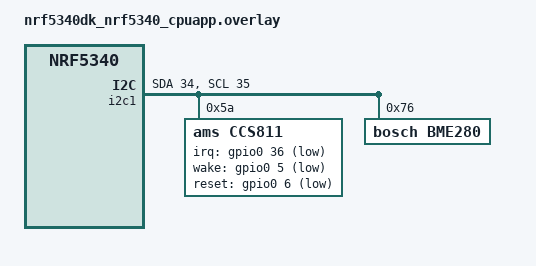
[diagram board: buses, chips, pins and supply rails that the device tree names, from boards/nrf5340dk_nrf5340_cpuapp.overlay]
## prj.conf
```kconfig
CONFIG_HEAP_MEM_POOL_SIZE=16384
CONFIG_MAIN_STACK_SIZE=4096

CONFIG_NEWLIB_LIBC=y

CONFIG_LOG=y

CONFIG_BT=y
CONFIG_BT_DEBUG_LOG=y
CONFIG_BT_DEVICE_NAME="IAQ"

CONFIG_SENSOR=y

CONFIG_BME280=y
CONFIG_CCS811=y


CONFIG_DISPLAY=y
CONFIG_DISPLAY_LOG_LEVEL_ERR=y

CONFIG_LVGL=y
CONFIG_LVGL_USE_THEME_MATERIAL=y
CONFIG_LVGL_USE_LABEL=y
CONFIG_LVGL_USE_LINEMETER=y
CONFIG_LVGL_FONT_MONTSERRAT_14=y
CONFIG_LVGL_FONT_MONTSERRAT_16=y
CONFIG_LVGL_FONT_MONTSERRAT_18=y
CONFIG_LVGL_FONT_MONTSERRAT_22=y
```

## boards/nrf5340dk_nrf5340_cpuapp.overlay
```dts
&i2c1 {
        status = "okay";
       sda-pin = <34>; // P1.02 (34)
       scl-pin = <35>; // P1.03 (35)

	/* Sparkfun Environment Combo uses second I2C address */
        ccs811: ccs811@5b {
                compatible = "ams,ccs811";
                reg = <0x5a>;
                label = "CCS811";
                irq-gpios = <&gpio0 36 GPIO_ACTIVE_LOW>; // P1.04 (36)
                wake-gpios = <&gpio0 5 GPIO_ACTIVE_LOW>;
                reset-gpios = <&gpio0 6 GPIO_ACTIVE_LOW>;
        };

        bme280@76 {
		compatible = "bosch,bme280";
		reg = <0x76>;
		label = "BME280";
	};
};
```

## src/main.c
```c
/*
SPDX-License-Identifier: GPL-3.0-or-later

iaq-monitor-demo
Copyright (C) 2021  dxcfl

This program is free software: you can redistribute it and/or modify
it under the terms of the GNU General Public License as published by
the Free Software Foundation, either version 3 of the License, or
(at your option) any later version.

This program is distributed in the hope that it will be useful,
but WITHOUT ANY WARRANTY; without even the implied warranty of
MERCHANTABILITY or FITNESS FOR A PARTICULAR PURPOSE.  See the
GNU General Public License for more details.

You should have received a copy of the GNU General Public License
along with this program.  If not, see <http://www.gnu.org/licenses/>.
*/

#include <device.h>
#include <devicetree.h>
#include <drivers/sensor.h>
#include <drivers/sensor/ccs811.h>
#include <drivers/display.h>
#include <zephyr.h>
#include <stdio.h>
#include <string.h>
#include <lvgl.h>
#include <bluetooth/bluetooth.h>
#include <bluetooth/hci.h>

#include "gui.h"
#include "iaq.h"

#define LOG_LEVEL CONFIG_LOG_DEFAULT_LEVEL
#include <logging/log.h>
LOG_MODULE_REGISTER(app);

#define DEVICE_NAME CONFIG_BT_DEVICE_NAME
#define DEVICE_NAME_LEN (sizeof(DEVICE_NAME) - 1)

#define BME280 DT_INST(0, bosch_bme280)
#if DT_NODE_HAS_STATUS(BME280, okay)
#define BME280_LABEL DT_LABEL(BME280)
#else
#error The devicetree has no enabled nodes with compatible "bosch,bme280"
#define BME280_LABEL "<none>"
#endif

#define CCS811 DT_INST(0, ams_ccs811)
#if DT_NODE_HAS_STATUS(CCS811, okay)
#define CCS811_LABEL DT_LABEL(CCS811)
#else
#error The devicetree has no enabled nodes with compatible "ams_ccs811"
#define CCS811_LABEL "<none>"
#endif

#define CALIBRATION_TIME_SECONDS 20 // should be 20 minutes! ;)

/* Auxiliary function: Format time string.
*/
static const char *time_str(uint32_t time, bool with_millis)
{
	static char buf[16]; /* ...HH:MM:SS.MMM */
	unsigned int ms = time % MSEC_PER_SEC;
	unsigned int s;
	unsigned int min;
	unsigned int h;

	time /= MSEC_PER_SEC;
	s = time % 60U;
	time /= 60U;
	min = time % 60U;
	time /= 60U;
	h = time;
	if (with_millis)
		snprintf(buf, sizeof(buf), "%u:%02u:%02u.%03u",
				 h, min, s, ms);
	else
		snprintf(buf, sizeof(buf), "%u:%02u:%02u",
				 h, min, s);

	return buf;
}

static const char *now_str()
{
	return time_str(k_uptime_get_32(), true);
}

/* Bluetooth beacon setup ...
 * "stolen" from the Zephyr bluetooth beacon example 
 * (zephyr/samples/bluetooth/beacon/main.c).
 * Setup a non-connectable Eddystone beacon.
 * Later we will "abuse" the name data in the scan
 * resonse to transport our IAQ rating.
*/

/*
	 * Set Advertisement data. Based on the Eddystone specification:
 	 * https://github.com/google/eddystone/blob/master/protocol-specification.md
 	 * https://github.com/google/eddystone/tree/master/eddystone-url
 	*/
static const struct bt_data ad[] = {
	BT_DATA_BYTES(BT_DATA_FLAGS, BT_LE_AD_NO_BREDR),
	BT_DATA_BYTES(BT_DATA_UUID16_ALL, 0xaa, 0xfe),
	BT_DATA_BYTES(BT_DATA_SVC_DATA16,
				  0xaa, 0xfe, /* Eddystone UUID */
				  0x10,		  /* Eddystone-URL frame type */
				  0x00,		  /* Calibrated Tx power at 0m */
				  0x00,		  /* URL Scheme Prefix http://www. */
				  'e', 'x', 'a', 'm', 'p', 'l', 'e',
				  0x08) /* .org */
};

/* Set Scan Response data */
static const struct bt_data sd[] = {
	BT_DATA(BT_DATA_NAME_COMPLETE, DEVICE_NAME, DEVICE_NAME_LEN),
	BT_DATA(BT_DATA_NAME_SHORTENED, DEVICE_NAME, DEVICE_NAME_LEN),
};

static void bt_ready(int err)
{

	char addr_s[BT_ADDR_LE_STR_LEN];
	bt_addr_le_t addr = {0};
	size_t count = 1;

	if (err)
	{
		printk("\n[%s]: Bluetooth init failed (err %d)\n", now_str(), err);
		return;
	}
	printk("\n[%s]: Bluetooth initialized\n", now_str());

	/* Start advertising */
	err = bt_le_adv_start(BT_LE_ADV_NCONN_IDENTITY, ad, ARRAY_SIZE(ad),
						  sd, ARRAY_SIZE(sd));
	if (err)
	{
		printk("\n[%s]: Advertising failed to start (err %d)\n", now_str(), err);
		return;
	}

	/* For connectable advertising you would use
	 * bt_le_oob_get_local().  For non-connectable non-identity
	 * advertising an non-resolvable private address is used;
	 * there is no API to retrieve that.
	 */

	bt_id_get(&addr, &count);
	bt_addr_le_to_str(&addr, addr_s, sizeof(addr_s));

	printk("\n[%s]: Beacon started, advertising as %s\n", now_str(), addr_s);
}

/* Auxiliary function to handle timing issues when fetching a
 * sample from the CCS811 sensor: Repeat sensor_sample_fetch
 * until valid data has been received.
*/
int ccs811_sample_fetch(struct device *dev)
{
	static bool first = true;
	static bool ccs811_fw_app_v2 = false;
	int rc;

	if (first)
	{
		struct ccs811_configver_type cfgver;
		rc = ccs811_configver_fetch(dev, &cfgver);
		if (rc == 0)
		{
			printk("\n[%s]: CCS811: HW %02x; FW Boot %04x App %04x ; mode %02x\n",
				   now_str(),
				   cfgver.hw_version, cfgver.fw_boot_version,
				   cfgver.fw_app_version, cfgver.mode);
			ccs811_fw_app_v2 = (cfgver.fw_app_version >> 8) > 0x11;
		}
		first = false;
	}

	rc = sensor_sample_fetch(dev);
	while (rc != 0)
	{
		const struct ccs811_result_type *rp = ccs811_result(dev);

		if (ccs811_fw_app_v2 && !(rp->status & CCS811_STATUS_DATA_READY))
		{
			printk("\n[%s]: CCS811: Stale data!\n", now_str());
			continue;
		}

		if (rp->status & CCS811_STATUS_ERROR)
		{
			printk("\n[%s]: CCS811: ERROR: %02x\n", now_str(), rp->error);
			break;
		}

		k_sleep(K_MSEC(10));
		rc = sensor_sample_fetch(dev);
	}

	return rc;
}

/*
 * Main application logic ...
*/
void main(void)
{
	/* General setup and initialization
	*/

	/* Setup sensor: BME280
	*/
	const struct device *bme280 = device_get_binding(BME280_LABEL);
	if (bme280 == NULL)
	{
		printk("No device \"%s\" found; Initialization failed?\n",
			   BME280_LABEL);
		return;
	}
	else
	{
		printk("Found device \"%s\"\n", BME280_LABEL);
		printk("Device is %p, name is %s\n", bme280, bme280->name);
	}

	/* Setup sensor: CCS811
	*/
	const struct device *ccs811 = device_get_binding(CCS811_LABEL);
	if (ccs811 == NULL)
	{
		printk("No device \"%s\" found; Initialization failed?\n",
			   CCS811_LABEL);
		return;
	}
	else
	{
		printk("Found device \"%s\"\n", CCS811_LABEL);
		printk("Device is %p, name is %s\n", ccs811, ccs811->name);
	}

	/* Setup and start Bluetooth beacon
	*/
	int bt_err;
	printk("\n[%s]: BT: Starting beacon ...\n", now_str());
	bt_err = bt_enable(bt_ready);
	if (bt_err)
	{
		printk("\n[%s]: BT: Initiialization failed (err %d)\n", now_str(), bt_err);
	}

	/* Setup GUI
	*/
	gui_setup();

	/* Forever ...
	*/
	while (1)
	{
		int rc = -1;
		bool valid_env_data_bme280 = false;
		bool valid_env_data_ccs811 = false;
		uint32_t now = k_uptime_get_32();
		int32_t calibration_time_remaining = CALIBRATION_TIME_SECONDS * MSEC_PER_SEC - now;

		struct sensor_value temp, press, humidity, co2, tvoc;

		/* Read sensor: BME280
		*/
		rc = sensor_sample_fetch(bme280);
		if (rc == 0)
		{
			valid_env_data_bme280 = true;

			/* Get sensor values for temperature, pressure and humidity
			*/
			sensor_channel_get(bme280, SENSOR_CHAN_AMBIENT_TEMP, &temp);
			sensor_channel_get(bme280, SENSOR_CHAN_PRESS, &press);
			sensor_channel_get(bme280, SENSOR_CHAN_HUMIDITY, &humidity);

			printk("\n[%s]: BME280: temp: %d.%06d; press: %d.%06d; humidity: %d.%06d\n",
				   now_str(),
				   temp.val1, temp.val2,
				   press.val1, press.val2,
				   humidity.val1, humidity.val2);

			/* Update the appropriate GUI elements
			*/
			gui_update_sensor_value(SENSOR_CHAN_AMBIENT_TEMP, temp);
			gui_update_sensor_value(SENSOR_CHAN_PRESS, press);
			gui_update_sensor_value(SENSOR_CHAN_HUMIDITY, humidity);

			/* Accurate calculation of gas levels requires accurate environment data. 
			 * Measurements are only accurate to 0.5 Cel and 0.5 RH.
			 * The CCS811 features an ENV_DATA register, which can be 'fed' with
			 * with the actual environmental data to improve the accuracy of the
			 * provided values for gas levels.
			*/
			rc = ccs811_envdata_update(ccs811, &temp, &humidity);
			if (rc == 0)
			{
				printk("\n[%s]: CCS811: Env data updated!\n", now_str());
			}
			else
			{
				printk("\n[%s]: CCS811: Failed to update env data!\n", now_str());
			}
		}
		else
		{
			valid_env_data_bme280 = false;
			printk("\n[%s]: BME280: Failed to fetch sensor data!\n", now_str());
		}

		/* Read sensor: CCS811
		*/
		rc = ccs811_sample_fetch(ccs811);
		if (rc == 0)
		{
			valid_env_data_ccs811 = true;

			/* Get sensor values for CO2 and VOC concentration
			*/
			sensor_channel_get(ccs811, SENSOR_CHAN_CO2, &co2);
			sensor_channel_get(ccs811, SENSOR_CHAN_VOC, &tvoc);

			printk("\n[%s]: CCS811: %u ppm eCO2; %u ppb eTVOC\n",
				   now_str(),
				   co2.val1,
				   tvoc.val1);

			/* Update the appropriate GUI elements
			*/
			gui_update_sensor_value(SENSOR_CHAN_CO2, co2);
			gui_update_sensor_value(SENSOR_CHAN_VOC, tvoc);
		}
		else
		{
			valid_env_data_ccs811 = false;
			printk("\n[%s]: CCS811: Failed to fetch sensor data!\n", now_str());
		}

		/* Calculate and display the IAQI rating
		*/

		/* If calibration time elapased and valid sensor readings are available ...
		*/
		if (calibration_time_remaining <= 0 && valid_env_data_bme280 && valid_env_data_ccs811)
		{
			/* Calculate the IAQI and update the GUI's meter component with the 'relative qualitity'
			 * and the IAQI rating.
			*/
			uint8_t iaq_index = get_iaq_index(temp.val1, humidity.val1, co2.val1, tvoc.val1);
			uint16_t quality = iaq_index * 100 / get_max_iaq_index();
			printk("\n[%s]: APP: IAQ index: %d (%d %%)\n", now_str(), iaq_index, quality);
			gui_update_qmeter(quality, get_iaq_rating(iaq_index));

			/* Update the scan reponse data for the Bluetooth beacon: 'Misuse' the name data for
			*  transporting the IAQI rating.
			*/
			struct bt_data new_sd[] = {
				BT_DATA(BT_DATA_NAME_COMPLETE, get_iaq_rating(iaq_index), strlen(get_iaq_rating(iaq_index))),
				BT_DATA(BT_DATA_NAME_SHORTENED, DEVICE_NAME, DEVICE_NAME_LEN),
			};
			bt_err = bt_le_adv_update_data(ad, ARRAY_SIZE(ad),
										   new_sd, ARRAY_SIZE(new_sd));
			if (bt_err)
			{
				printk("\n[%s]: BT: Advertising update failed (err %d)\n", now_str(), bt_err);
			}
		}
		/* If we are still calibrating ...
		*/
		else if (calibration_time_remaining > 0)
		{
			printk("\n[%s]: APP: Calibration time remaining: %s\n", now_str(), time_str(calibration_time_remaining, true));
			/* Show remaining time for calibration
			*/
			gui_update_qmeter(0, time_str(calibration_time_remaining, false));
		}

		k_sleep(K_MSEC(1000));
	}
}
```

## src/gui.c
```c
/*
SPDX-License-Identifier: GPL-3.0-or-later

iaq-monitor-demo
Copyright (C) 2021  dxcfl

This program is free software: you can redistribute it and/or modify
it under the terms of the GNU General Public License as published by
the Free Software Foundation, either version 3 of the License, or
(at your option) any later version.

This program is distributed in the hope that it will be useful,
but WITHOUT ANY WARRANTY; without even the implied warranty of
MERCHANTABILITY or FITNESS FOR A PARTICULAR PURPOSE.  See the
GNU General Public License for more details.

You should have received a copy of the GNU General Public License
along with this program.  If not, see <http://www.gnu.org/licenses/>.
*/

#include <zephyr.h>
#include <device.h>
#include <drivers/display.h>
#include <drivers/sensor.h>
#include <lvgl.h>
#include <stdio.h>
#include <string.h>

#include "gui.h"

#define LOG_LEVEL CONFIG_LOG_DEFAULT_LEVEL
#include <logging/log.h>
LOG_MODULE_REGISTER(gui);

const struct device *display_dev;

/* GUI objects ... 
*/
lv_obj_t *headline;
lv_obj_t *qualitiy_meter;
lv_obj_t *qualitiy_label;
lv_obj_t *temp_label;
lv_obj_t *temp_value_label;
lv_obj_t *pressure_label;
lv_obj_t *press_value_label;
lv_obj_t *humidity_label;
lv_obj_t *humid_value_label;
lv_obj_t *co2_label;
lv_obj_t *co2_value_label;
lv_obj_t *tvoc_label;
lv_obj_t *tvoc_value_label;

/* GUI setup ... 
*/
void gui_setup(void)
{
	display_dev = device_get_binding(CONFIG_LVGL_DISPLAY_DEV_NAME);

	if (display_dev == NULL)
	{
		LOG_ERR("Display device not found!");
		return;
	}

	display_blanking_off(display_dev);

	lv_theme_t *theme = lv_theme_material_init(LV_COLOR_GREEN, LV_COLOR_WHITE, LV_THEME_MATERIAL_FLAG_DARK, &lv_font_montserrat_14, &lv_font_montserrat_16, &lv_font_montserrat_18, &lv_font_montserrat_22);
	lv_theme_set_act(theme);

	headline = lv_label_create(lv_scr_act(), NULL);
	qualitiy_meter = lv_linemeter_create(lv_scr_act(), NULL);
	qualitiy_label = lv_label_create(lv_scr_act(), NULL);
	temp_label = lv_label_create(lv_scr_act(), NULL);
	temp_value_label = lv_label_create(lv_scr_act(), NULL);
	pressure_label = lv_label_create(lv_scr_act(), NULL);
	press_value_label = lv_label_create(lv_scr_act(), NULL);
	humidity_label = lv_label_create(lv_scr_act(), NULL);
	humid_value_label = lv_label_create(lv_scr_act(), NULL);
	co2_label = lv_label_create(lv_scr_act(), NULL);
	co2_value_label = lv_label_create(lv_scr_act(), NULL);
	tvoc_label = lv_label_create(lv_scr_act(), NULL);
	tvoc_value_label = lv_label_create(lv_scr_act(), NULL);

	static lv_style_t large_style;
	lv_style_init(&large_style);
	lv_style_set_text_font(&large_style, LV_STATE_DEFAULT, lv_theme_get_font_title());

	lv_obj_add_style(headline, LV_LABEL_PART_MAIN, &large_style);
	lv_obj_set_x(headline, 115);
	lv_obj_set_y(headline, 10);
	lv_obj_set_height(headline, 20);
	lv_obj_set_width(headline, 50);
	lv_label_set_text(headline, "Air Quality");

	lv_obj_set_x(qualitiy_meter, 10);
	lv_obj_set_y(qualitiy_meter, 75);
	lv_obj_set_width(qualitiy_meter, 90);
	lv_obj_set_height(qualitiy_meter, 90);
	lv_linemeter_set_range(qualitiy_meter, 0, 100);

	lv_obj_set_x(qualitiy_label, 30);
	lv_obj_set_y(qualitiy_label, 170);
	lv_obj_set_width(qualitiy_label, 60);
	lv_obj_set_height(qualitiy_label, 40);
	lv_label_set_text(qualitiy_label, "Quality");

	unsigned int line0_y = 50;
	unsigned int line_space = 40;
	unsigned int line = 0;

	lv_obj_set_x(temp_label, 115);
	lv_obj_set_y(temp_label, line0_y + line_space * line);
	lv_label_set_text(temp_label, "Temp (C°)");
	lv_obj_add_style(temp_value_label, LV_LABEL_PART_MAIN, &large_style);
	lv_obj_set_x(temp_value_label, 245);
	lv_obj_set_y(temp_value_label, line0_y + line_space * line);
	lv_label_set_text(temp_value_label, "...");

	line++;
	lv_obj_set_x(pressure_label, 115);
	lv_obj_set_y(pressure_label, line0_y + line_space * line);
	lv_label_set_text(pressure_label, "Pressure (hPa)");
	lv_obj_add_style(press_value_label, LV_LABEL_PART_MAIN, &large_style);
	lv_obj_set_x(press_value_label, 245);
	lv_obj_set_y(press_value_label, line0_y + line_space * line);
	lv_label_set_text(press_value_label, "...");

	line++;
	lv_obj_set_x(humidity_label, 115);
	lv_obj_set_y(humidity_label, line0_y + line_space * line);
	lv_label_set_text(humidity_label, "Humidity (%)");
	lv_obj_add_style(humid_value_label, LV_LABEL_PART_MAIN, &large_style);
	lv_obj_set_x(humid_value_label, 245);
	lv_obj_set_y(humid_value_label, line0_y + line_space * line);
	lv_label_set_text(humid_value_label, "...");

	line++;
	lv_obj_set_x(co2_label, 115);
	lv_obj_set_y(co2_label, line0_y + line_space * line);
	lv_label_set_text(co2_label, "eCO2 (ppm)");
	lv_obj_add_style(co2_value_label, LV_LABEL_PART_MAIN, &large_style);
	lv_obj_set_x(co2_value_label, 245);
	lv_obj_set_y(co2_value_label, line0_y + line_space * line);
	lv_label_set_text(co2_value_label, "...");

	line++;
	lv_obj_set_x(tvoc_label, 115);
	lv_obj_set_y(tvoc_label, line0_y + line_space * line);
	lv_label_set_text(tvoc_label, "TVOC (ppb)");
	lv_obj_add_style(tvoc_value_label, LV_LABEL_PART_MAIN, &large_style);
	lv_obj_set_x(tvoc_value_label, 245);
	lv_obj_set_y(tvoc_value_label, line0_y + line_space * line);
	lv_label_set_text(tvoc_value_label, "...");
}

/* Updates the value label for the refered sensor channel / value ... 
*/
void gui_update_sensor_value(enum sensor_channel channel, struct sensor_value value)
{
	value.val2 = value.val2 / 10000;
	switch (channel)
	{
	case SENSOR_CHAN_AMBIENT_TEMP:
		lv_label_set_text_fmt(temp_value_label, "%d.%02d", value.val1, value.val2);
		break;
	case SENSOR_CHAN_PRESS:
		lv_label_set_text_fmt(press_value_label, "%d.%02d", value.val1, value.val2);
		break;
	case SENSOR_CHAN_HUMIDITY:
		lv_label_set_text_fmt(humid_value_label, "%d.%02d", value.val1, value.val2);
		break;
	case SENSOR_CHAN_CO2:
		lv_label_set_text_fmt(co2_value_label, "%u", value.val1);
		break;
	case SENSOR_CHAN_VOC:
		lv_label_set_text_fmt(tvoc_value_label, "%u", value.val1);
		break;
	}
}

/* Updates the line meter and it's label with the 'relative IQAI' and the rating ... 
*/
void gui_update_qmeter(int8_t quality, const char *rating)
{
	lv_linemeter_set_value(qualitiy_meter, quality);
	lv_label_set_text(qualitiy_label, rating);
}

/* Thread for activating the LVGL taskhandler periodicly ... 
*/
void gui_run(void)
{
	while (1)
	{
		lv_task_handler();
		k_sleep(K_MSEC(20));
	}
}

// Define our GUI thread, using a stack size of 4096 and a priority of 7
K_THREAD_DEFINE(gui_thread, 4096, gui_run, NULL, NULL, NULL, 7, 0, 0);
```

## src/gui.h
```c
/*
SPDX-License-Identifier: GPL-3.0-or-later

iaq-monitor-demo
Copyright (C) 2021  dxcfl

This program is free software: you can redistribute it and/or modify
it under the terms of the GNU General Public License as published by
the Free Software Foundation, either version 3 of the License, or
(at your option) any later version.

This program is distributed in the hope that it will be useful,
but WITHOUT ANY WARRANTY; without even the implied warranty of
MERCHANTABILITY or FITNESS FOR A PARTICULAR PURPOSE.  See the
GNU General Public License for more details.

You should have received a copy of the GNU General Public License
along with this program.  If not, see <http://www.gnu.org/licenses/>.
*/

#ifndef __GUI_H
#define __GUI_H

#include <zephyr.h>
#include <drivers/sensor.h>

void gui_setup(void);

void gui_update_sensor_value(enum sensor_channel channel, struct sensor_value value);

void gui_update_qmeter(int8_t quality, const char *rating);

void gui_update_headline(const char *str);

#endif
```

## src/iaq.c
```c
/*
SPDX-License-Identifier: GPL-3.0-or-later

iaq-monitor-demo
Copyright (C) 2021  dxcfl

This program is free software: you can redistribute it and/or modify
it under the terms of the GNU General Public License as published by
the Free Software Foundation, either version 3 of the License, or
(at your option) any later version.

This program is distributed in the hope that it will be useful,
but WITHOUT ANY WARRANTY; without even the implied warranty of
MERCHANTABILITY or FITNESS FOR A PARTICULAR PURPOSE.  See the
GNU General Public License for more details.

You should have received a copy of the GNU General Public License
along with this program.  If not, see <http://www.gnu.org/licenses/>.
*/

#include <zephyr.h>
#include "iaq.h"

#define IAQ_REGARDED_MEASUREMENTS 4

/* 
This code provides calculations of the Indoor Air Qualitiy index according to
http://www.iaquk.org.uk/ESW/Files/IAQ_Rating_Index.pdf for
temperature, humidity, CO2 and TVOC concentration.
*/

/*
Temperature (°C)

Excellent: 18 - 21°C
Good: Plus or minus 1°C 
Fair: Plus or minus 2°C 
Poor: Plus or minus 3°C 
Inadequate: Plus or minus 4°C or more
*/
uint8_t points_temperature(uint32_t temperature)
{
    uint8_t points = 5;
    const uint32_t excellent_low = 18;
    const uint32_t excellent_high = 21;

    if (temperature < excellent_low)
    {
        points -= excellent_low - temperature > 4 ? 4 : excellent_low - temperature;
    }
    else if (temperature > excellent_high)
    {
        points -= temperature - excellent_high > 4 ? 4 : temperature - excellent_high;
    }

    return points;
}

/*
Relative Humidity (% RH)

Excellent: 40 - 60 % RH
Good: < 40 / > 60 % RH 
Fair: < 30 / > 70 % RH 
Poor: < 20 / > 80 % RH 
Inadequate: < 10 / > 90 % RH 
*/
uint8_t points_humidity(uint32_t humidity)
{
    uint8_t points = 0;

    if (humidity < 10 || humidity > 90)
    {
        points = 1;
    }
    else if (humidity < 20 || humidity > 80)
    {
        points = 2;
    }
    else if (humidity < 30 || humidity > 70)
    {
        points = 3;
    }
    else if (humidity < 40 || humidity > 60)
    {
        points = 4;
    }
    else if (humidity >= 40 && humidity <= 60)
    {
        points = 5;
    }

    return points;
}

/*
Carbon Dixoide (PPM)

Excellent: Below 600 PPM 
Good: 601 - 1000 PPM 
Fair: 1000 - 1500 PPM 
Poor: 1500 - 1800 PPM 
Inadequate: 1800 PPM + 
*/
uint8_t points_co2(uint32_t co2)
{
    uint8_t points = 0;

    if (co2 <= 600)
    {
        points = 5;
    }
    else if (co2 <= 800)
    {
        points = 4;
    }
    else if (co2 <= 1500)
    {
        points = 3;
    }
    else if (co2 <= 1800)
    {
        points = 2;
    }
    else if (co2 > 1800)
    {
        points = 1;
    }

    return points;
}

/*
TVOC (ppb)

Since the rating in http://www.iaquk.org.uk/ESW/Files/IAQ_Rating_Index.pdf 
is given only for units of mg/m3 and most of the available sensors produce
this value only in units of ppb, it would have been necessary to convert
measurements in ppb to values in mg/m3- 

In order to map the TVOC measurement in ppb to
mg/m3 a gas mixture would have to be assumed which represents a typical TVOC mixture.
Based on this mixture, an average molar mass could be calculated which could be further
used to directly convert ppb into mg/m3. 

As an alternative to this approach, the evaluation of the TVOC measurement in ppb,
is done by referencing a table published by the German Federal Environmental Agency.
Following the human perception, the German Federal Environmental Agency 
(Bundesgesundheitsblatt – Gesundheitsforschung Gesundheitsschutz 2007, 50:990–1005, 
Springer Medizin Verlag 2007. (DOI 10.1007/s00103-007-0290-y) translates TVOC concentration 
(parts per billion) on a logarithmic scale into five indoor air quality levels (IAQ):

Excellent: 0 - 0.065 ppm  (<= 65 ppb)
Good: 0.065 - 0.22 ppm    (< =220 ppb)
Moderate: 0.22 - 0.66 ppm (<= 660 ppb)
Poor: 0.66 - 2.2 ppm      (<= 2200 ppb)
Unhealthy: 2.2 - 5.5 ppm   (> 2200 ppb) 
*/
uint8_t points_tvoc(uint32_t tvoc)
{
    uint8_t points = 0;

    if (tvoc <= 65)
    {
        points = 5;
    }
    else if (tvoc <= 220)
    {
        points = 4;
    }
    else if (tvoc <= 660)
    {
        points = 3;
    }
    else if (tvoc <= 2200)
    {
        points = 2;
    }
    else if (tvoc > 2200)
    {
        points = 1;
    }

    return points;
}

/* IAQI: The sum of all calculated points for each given indicator / sensor value.
*/
uint8_t get_iaq_index(uint32_t temperature, uint32_t humidity, uint32_t eco2, uint32_t tvoc)
{
    uint8_t points = 0;

    points += points_temperature(temperature);
    points += points_humidity(humidity);
    points += points_co2(eco2);
    points += points_tvoc(tvoc);

    return points;
}

/* IAQI rating: 5 levels based on the given IAQI.
*/
const char *get_iaq_rating(uint8_t iaq_index)
{

    if (iaq_index < 2 * IAQ_REGARDED_MEASUREMENTS)
    {
        return "Inadequate";
    }
    else if (iaq_index < 3 * IAQ_REGARDED_MEASUREMENTS)
    {
        return "Poor";
    }
    else if (iaq_index < 4 * IAQ_REGARDED_MEASUREMENTS)
    {
        return "Fair";
    }
    else if (iaq_index < 5 * IAQ_REGARDED_MEASUREMENTS)
    {
        return "Good";
    }
    else
    {
        return "Excellent";
    }
}

uint8_t get_min_iaq_index()
{
    return IAQ_REGARDED_MEASUREMENTS;
}

uint8_t get_max_iaq_index()
{
    return IAQ_REGARDED_MEASUREMENTS * 5;
}
```

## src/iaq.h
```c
/*
SPDX-License-Identifier: GPL-3.0-or-later

iaq-monitor-demo
Copyright (C) 2021  dxcfl

This program is free software: you can redistribute it and/or modify
it under the terms of the GNU General Public License as published by
the Free Software Foundation, either version 3 of the License, or
(at your option) any later version.

This program is distributed in the hope that it will be useful,
but WITHOUT ANY WARRANTY; without even the implied warranty of
MERCHANTABILITY or FITNESS FOR A PARTICULAR PURPOSE.  See the
GNU General Public License for more details.

You should have received a copy of the GNU General Public License
along with this program.  If not, see <http://www.gnu.org/licenses/>.
*/

#ifndef __IAQ_H
#define __IAQ_H

#include <zephyr.h>
#include "iaq.h"

uint8_t get_iaq_index(uint32_t temperature, uint32_t humidity, uint32_t eco2, uint32_t tvoc);

const char *get_iaq_rating(uint8_t iaq_index);

uint8_t get_min_iaq_index();

uint8_t get_max_iaq_index();

#endif
```
